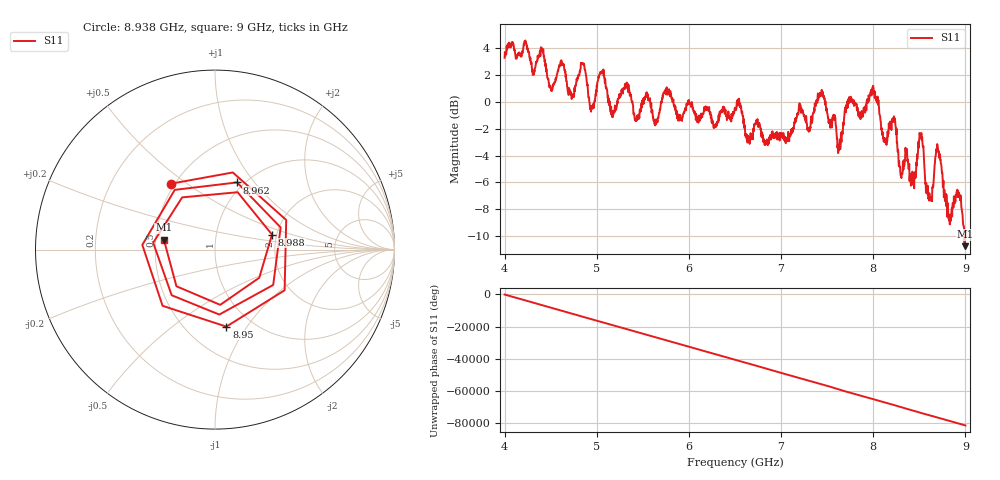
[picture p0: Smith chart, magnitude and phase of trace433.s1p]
! Created with skrf 1.8.0 (http://scikit-rf.org).
# Hz S RI R 50.0
!freq ReS11 ImS11
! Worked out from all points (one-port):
!   1601 points, 4 GHz to 9 GHz, reference 50 ohm
!   lowest |S11| = -10.7 dB at 9 GHz (marker M1), VSWR 1.82, Z = 27.7 + j3.38 ohm
!   |S11| at or under -10 dB: 8.988973 GHz to end of sweep
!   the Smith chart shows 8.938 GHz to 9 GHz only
!   S11 on the Smith chart (normalised r, x): 8.938 GHz: 0.48, +0.43; 8.95 GHz: 0.76, -0.81; 8.962 GHz: 0.93, +0.82; 8.988 GHz: 1.89, +0.35; 9 GHz: 0.55, +0.07
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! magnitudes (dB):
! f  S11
! 4 GHz  3.3
! 4.625 GHz  2.8
! 4.728 GHz  0.2
! 4.853 GHz  2.8
! 4.944 GHz  -0.4
! 5.053 GHz  2.1
! 5.169 GHz  -0.9
! 5.25 GHz  0.3
! 5.875 GHz  -0.9
! 6.5 GHz  -0.4
! 7.125 GHz  -2.3
! 7.441 GHz  0.9
! 7.631 GHz  -3.6
! 7.75 GHz  0.3
! 7.994 GHz  1.0
! 8.119 GHz  -2.8
! 8.219 GHz  -1.5
! 8.375 GHz  -4.3
! 8.441 GHz  -5.4
! 8.516 GHz  -2.4
! 8.606 GHz  -7.3
! 8.7 GHz  -3.4
! 8.825 GHz  -8.4
! 8.938 GHz  -7.1
! 8.95 GHz  -7.3
! 8.962 GHz  -8.1
! 8.988 GHz  -9.7
! 9 GHz  -10.7
